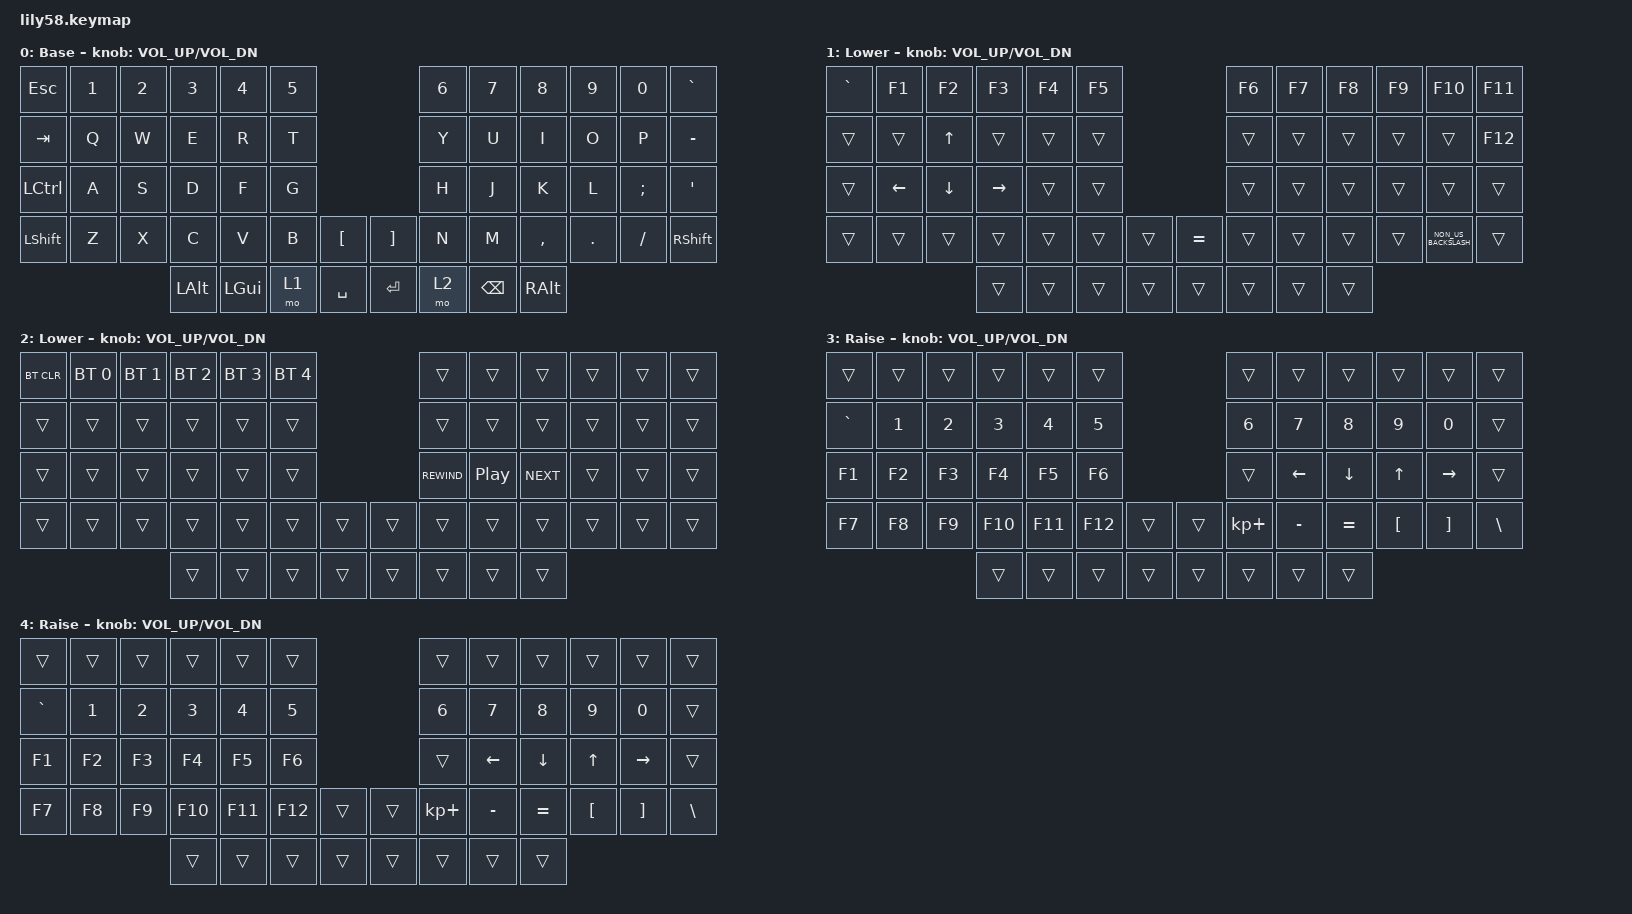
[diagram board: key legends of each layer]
/*
 * Copyright (c) 2020 The ZMK Contributors
 *
 * SPDX-License-Identifier: MIT
 */

#include <behaviors.dtsi>
#include <dt-bindings/zmk/bt.h>
#include <dt-bindings/zmk/keys.h>

/ {
    keymap {
        compatible = "zmk,keymap";

        default_layer {
            // ------------------------------------------------------------------------------------------------------------
            // |  ESC  |  1  |  2  |  3   |  4   |  5   |                   |  6   |  7    |  8    |  9   |   0   |   `   |
            // |  TAB  |  Q  |  W  |  E   |  R   |  T   |                   |  Y   |  U    |  I    |  O   |   P   |   -   |
            // |  CTRL |  A  |  S  |  D   |  F   |  G   |                   |  H   |  J    |  K    |  L   |   ;   |   '   |
            // | SHIFT |  Z  |  X  |  C   |  V   |  B   |   "["  |  |  "]"  |  N   |  M    |  ,    |  .   |   /   | SHIFT |
            //                     | ALT  | GUI  | LOWER|  SPACE |  | ENTER | RAISE| BSPC  | GUI   |

            display-name = "Base";
            bindings = <
&kp ESC    &kp N1  &kp N2  &kp N3    &kp N4    &kp N5                         &kp N6  &kp N7    &kp N8         &kp N9   &kp N0    &kp GRAVE
&kp TAB    &kp Q   &kp W   &kp E     &kp R     &kp T                          &kp Y   &kp U     &kp I          &kp O    &kp P     &kp MINUS
&kp LCTRL  &kp A   &kp S   &kp D     &kp F     &kp G                          &kp H   &kp J     &kp K          &kp L    &kp SEMI  &kp SQT
&kp LSHFT  &kp Z   &kp X   &kp C     &kp V     &kp B   &kp LBKT     &kp RBKT  &kp N   &kp M     &kp COMMA      &kp DOT  &kp FSLH  &kp RSHFT
                           &kp LALT  &kp LGUI  &mo 1   &kp SPACE    &kp RET   &mo 2   &kp BSPC  &kp RIGHT_ALT
            >;

            sensor-bindings = <&inc_dec_kp C_VOL_UP C_VOL_DN>;
        };

        lower_layer {
            // ------------------------------------------------------------------------------------------------------------
            // | BTCLR | BT1 | BT2 |  BT3 |  BT4 |  BT5 |                   |      |       |       |      |       |       |
            // |  F1   |  F2 |  F3 |  F4  |  F5  |  F6  |                   |  F7  |  F8   |  F9   |  F10 |  F11  |  F12  |
            // |   `   |  !  |  @  |  #   |  $   |  %   |                   |  ^   |  &    |  *    |  (   |   )   |   ~   |
            // |       |     |     |      |      |      |        |  |       |      |  _    |  +    |  {   |   }   |  "|"  |
            //                     |      |      |      |        |  |       |      |       |       |

            display-name = "Lower";
            bindings = <
&kp GRAVE  &kp F1    &kp F2          &kp F3     &kp F4  &kp F5                       &kp F6  &kp F7  &kp F8  &kp F9  &kp F10               &kp F11
&trans     &trans    &kp UP_ARROW    &trans     &trans  &trans                       &trans  &trans  &trans  &trans  &trans                &kp F12
&trans     &kp LEFT  &kp DOWN_ARROW  &kp RIGHT  &trans  &trans                       &trans  &trans  &trans  &trans  &trans                &trans
&trans     &trans    &trans          &trans     &trans  &trans  &trans    &kp EQUAL  &trans  &trans  &trans  &trans  &kp NON_US_BACKSLASH  &trans
                                     &trans     &trans  &trans  &trans    &trans     &trans  &trans  &trans
            >;

            sensor-bindings = <&inc_dec_kp C_VOL_UP C_VOL_DN>;
        };

        layer_6 {
            display-name = "Lower";
            bindings = <
&bt BT_CLR  &bt BT_SEL 0  &bt BT_SEL 1  &bt BT_SEL 2  &bt BT_SEL 3  &bt BT_SEL 4                    &trans        &trans            &trans      &trans  &trans  &trans
&trans      &trans        &trans        &trans        &trans        &trans                          &trans        &trans            &trans      &trans  &trans  &trans
&trans      &trans        &trans        &trans        &trans        &trans                          &kp C_REWIND  &kp C_PLAY_PAUSE  &kp C_NEXT  &trans  &trans  &trans
&trans      &trans        &trans        &trans        &trans        &trans        &trans    &trans  &trans        &trans            &trans      &trans  &trans  &trans
                                        &trans        &trans        &trans        &trans    &trans  &trans        &trans            &trans
            >;

            sensor-bindings = <&inc_dec_kp C_VOL_UP C_VOL_DN>;
        };

        raise_layer {
            // ------------------------------------------------------------------------------------------------------------
            // |       |     |     |      |      |      |                   |      |       |       |      |       |       |
            // |   `   |  1  |  2  |  3   |  4   |  5   |                   |  6   |   7   |   8   |  9   |   0   |       |
            // |   F1  |  F2 |  F3 |  F4  |  F5  |  F6  |                   |      |   <-  |   v   |  ^   |  ->   |       |
            // |   F7  |  F8 |  F9 |  F10 |  F11 |  F12 |        |  |       |  +   |   -   |   =   |  [   |   ]   |   \   |
            //                     |      |      |      |        |  |       |      |       |       |

            display-name = "Raise";
            bindings = <
&trans     &trans  &trans  &trans   &trans   &trans                     &trans       &trans     &trans     &trans    &trans     &trans
&kp GRAVE  &kp N1  &kp N2  &kp N3   &kp N4   &kp N5                     &kp N6       &kp N7     &kp N8     &kp N9    &kp N0     &trans
&kp F1     &kp F2  &kp F3  &kp F4   &kp F5   &kp F6                     &trans       &kp LEFT   &kp DOWN   &kp UP    &kp RIGHT  &trans
&kp F7     &kp F8  &kp F9  &kp F10  &kp F11  &kp F12  &trans    &trans  &kp KP_PLUS  &kp MINUS  &kp EQUAL  &kp LBKT  &kp RBKT   &kp BSLH
                           &trans   &trans   &trans   &trans    &trans  &trans       &trans     &trans
            >;

            sensor-bindings = <&inc_dec_kp C_VOL_UP C_VOL_DN>;
        };

        extra_1 { status = "reserved"; };

        extra_2 { status = "reserved"; };

        extra_3 { status = "reserved"; };

        layer_7 {
            display-name = "Raise";
            bindings = <
&trans     &trans  &trans  &trans   &trans   &trans                     &trans       &trans     &trans     &trans    &trans     &trans
&kp GRAVE  &kp N1  &kp N2  &kp N3   &kp N4   &kp N5                     &kp N6       &kp N7     &kp N8     &kp N9    &kp N0     &trans
&kp F1     &kp F2  &kp F3  &kp F4   &kp F5   &kp F6                     &trans       &kp LEFT   &kp DOWN   &kp UP    &kp RIGHT  &trans
&kp F7     &kp F8  &kp F9  &kp F10  &kp F11  &kp F12  &trans    &trans  &kp KP_PLUS  &kp MINUS  &kp EQUAL  &kp LBKT  &kp RBKT   &kp BSLH
                           &trans   &trans   &trans   &trans    &trans  &trans       &trans     &trans
            >;

            sensor-bindings = <&inc_dec_kp C_VOL_UP C_VOL_DN>;
        };
    };
};
